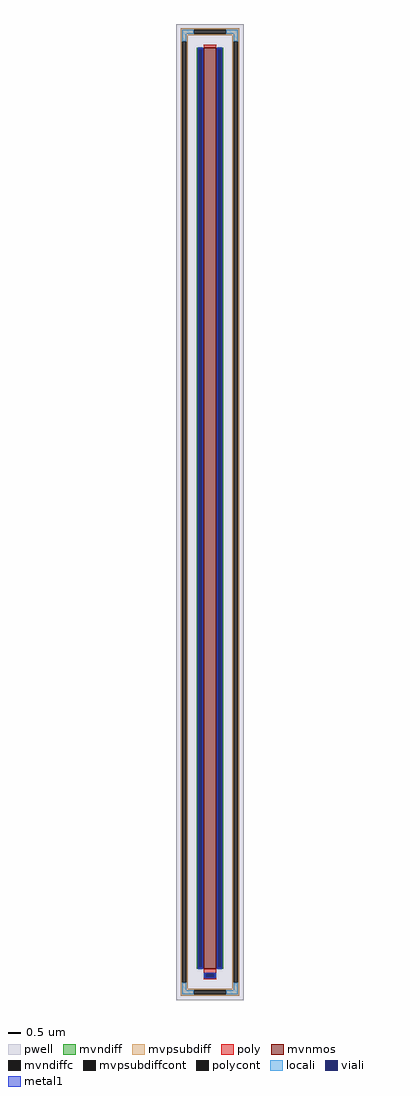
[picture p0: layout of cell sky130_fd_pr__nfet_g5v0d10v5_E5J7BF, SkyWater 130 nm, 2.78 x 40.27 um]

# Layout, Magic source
magic
tech sky130A
magscale 1 2
<< pwell >>
rect -278 -4027 278 4027
<< mvnmos >>
rect -50 -3769 50 3831
<< mvndiff >>
rect -108 3819 -50 3831
rect -108 -3757 -96 3819
rect -62 -3757 -50 3819
rect -108 -3769 -50 -3757
rect 50 3819 108 3831
rect 50 -3757 62 3819
rect 96 -3757 108 3819
rect 50 -3769 108 -3757
<< mvndiffc >>
rect -96 -3757 -62 3819
rect 62 -3757 96 3819
<< mvpsubdiff >>
rect -242 3979 242 3991
rect -242 3945 -134 3979
rect 134 3945 242 3979
rect -242 3933 242 3945
rect -242 3883 -184 3933
rect -242 -3883 -230 3883
rect -196 -3883 -184 3883
rect 184 3883 242 3933
rect -242 -3933 -184 -3883
rect 184 -3883 196 3883
rect 230 -3883 242 3883
rect 184 -3933 242 -3883
rect -242 -3945 242 -3933
rect -242 -3979 -134 -3945
rect 134 -3979 242 -3945
rect -242 -3991 242 -3979
<< mvpsubdiffcont >>
rect -134 3945 134 3979
rect -230 -3883 -196 3883
rect 196 -3883 230 3883
rect -134 -3979 134 -3945
<< poly >>
rect -50 3831 50 3857
rect -50 -3807 50 -3769
rect -50 -3841 -34 -3807
rect 34 -3841 50 -3807
rect -50 -3857 50 -3841
<< polycont >>
rect -34 -3841 34 -3807
<< locali >>
rect -230 3945 -134 3979
rect 134 3945 230 3979
rect -230 3883 -196 3945
rect 196 3883 230 3945
rect -96 3819 -62 3835
rect -96 -3773 -62 -3757
rect 62 3819 96 3835
rect 62 -3773 96 -3757
rect -50 -3841 -34 -3807
rect 34 -3841 50 -3807
rect -230 -3945 -196 -3883
rect 196 -3945 230 -3883
rect -230 -3979 -134 -3945
rect 134 -3979 230 -3945
<< viali >>
rect -96 -3757 -62 3819
rect 62 -3757 96 3819
rect -34 -3841 34 -3807
<< metal1 >>
rect -102 3819 -56 3831
rect -102 -3757 -96 3819
rect -62 -3757 -56 3819
rect -102 -3769 -56 -3757
rect 56 3819 102 3831
rect 56 -3757 62 3819
rect 96 -3757 102 3819
rect 56 -3769 102 -3757
rect -46 -3807 46 -3801
rect -46 -3841 -34 -3807
rect 34 -3841 46 -3807
rect -46 -3847 46 -3841
<< properties >>
string FIXED_BBOX -213 -3962 213 3962
string gencell sky130_fd_pr__nfet_g5v0d10v5
string library sky130
string parameters w 38.0 l 0.5 m 1 nf 1 diffcov 100 polycov 100 guard 1 glc 1 grc 1 gtc 1 gbc 1 tbcov 100 rlcov 100 topc 0 botc 1 poverlap 0 doverlap 1 lmin 0.50 wmin 0.42 class mosfet compatible {sky130_fd_pr__nfet_01v8 sky130_fd_pr__nfet_01v8_lvt  sky130_fd_bs_flash__special_sonosfet_star  sky130_fd_pr__nfet_g5v0d10v5 sky130_fd_pr__nfet_05v0_nvt  sky130_fd_pr__nfet_03v3_nvt} full_metal 1 viasrc 100 viadrn 100 viagate 100 viagb 0 viagr 0 viagl 0 viagt 0
<< end >>
